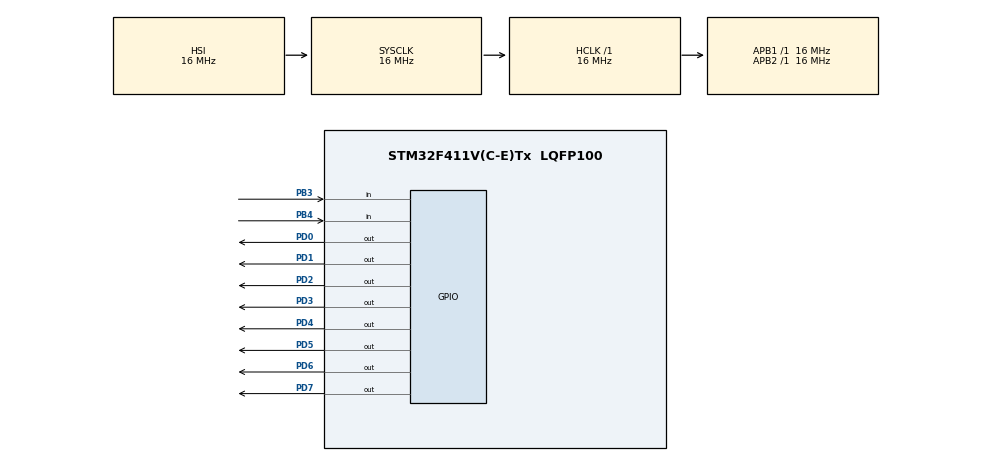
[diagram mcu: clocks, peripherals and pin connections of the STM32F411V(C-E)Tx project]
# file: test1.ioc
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Mcu.Family=STM32F4
Mcu.Name=STM32F411V(C-E)Tx
Mcu.Package=LQFP100
NVIC.PriorityGroup=NVIC_PRIORITYGROUP_4
PA13.Mode=Serial_Wire
PA13.Signal=SYS_JTMS-SWDIO
PA14.Mode=Serial_Wire
PA14.Signal=SYS_JTCK-SWCLK
PB3.GPIO_PuPd=GPIO_PULLUP
PB3.Signal=GPIO_Input
PB4.GPIO_PuPd=GPIO_PULLUP
PB4.Signal=GPIO_Input
PD0.Signal=GPIO_Output
PD1.Signal=GPIO_Output
PD2.Signal=GPIO_Output
PD3.Signal=GPIO_Output
PD4.Signal=GPIO_Output
PD5.Signal=GPIO_Output
PD6.Signal=GPIO_Output
PD7.Signal=GPIO_Output
ProjectManager.HeapSize=0x200
ProjectManager.StackSize=0x400
ProjectManager.TargetToolchain=STM32CubeIDE
RCC.AHBFreq_Value=16000000
RCC.APB1Freq_Value=16000000
RCC.APB2Freq_Value=16000000
RCC.CortexFreq_Value=16000000
RCC.HSE_VALUE=25000000
RCC.HSI_VALUE=16000000
RCC.LSE_VALUE=32768
RCC.SYSCLKFreq_VALUE=16000000
RCC.VCOOutputFreq_Value=192000000
board=custom

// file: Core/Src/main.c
/* USER CODE BEGIN Header */
/**
  ******************************************************************************
  * @file           : main.c
  * @brief          : Main program body
  ******************************************************************************
  * @attention
  *
  * Copyright (c) 2022 STMicroelectronics.
  * All rights reserved.
  *
  * This software is licensed under terms that can be found in the LICENSE file
  * in the root directory of this software component.
  * If no LICENSE file comes with this software, it is provided AS-IS.
  *
  ******************************************************************************
  */
/* USER CODE END Header */
#include "main.h"

void SystemClock_Config(void);
static void MX_GPIO_Init(void);

/* USER CODE BEGIN 0 */
uint8_t status = 0;
void delay_msX(uint16_t t);
void LED(unsigned char name, unsigned char x){
	switch(name){
		case 0:
		{
			HAL_GPIO_WritePin(GPIOD, GPIO_PIN_0, x);
			break;
		}
		case 1:
		{
			HAL_GPIO_WritePin(GPIOD, GPIO_PIN_1, x);
			break;
		}
		case 2:
		{
			HAL_GPIO_WritePin(GPIOD, GPIO_PIN_2, x);
			break;
		}
		case 3:
		{
			HAL_GPIO_WritePin(GPIOD, GPIO_PIN_3, x);
			break;
		}
		case 4:
		{
			HAL_GPIO_WritePin(GPIOD, GPIO_PIN_4, x);
			break;
		}
		case 5:
		{
			HAL_GPIO_WritePin(GPIOD, GPIO_PIN_5, x);
			break;
		}
		case 6:
		{
			HAL_GPIO_WritePin(GPIOD, GPIO_PIN_6, x);
			break;
		}
		case 7:
		{
			HAL_GPIO_WritePin(GPIOD, GPIO_PIN_7, x);
			break;
		}
	}
}

void sang_het(){
	for(unsigned char i = 0; i <= 7; i++){
		LED(i,1);
	}
}

void tat_het(){
	for(unsigned char i = 0; i <= 7; i++){
		LED(i,0);
	}
}

void chop_tat(uint8_t n){
	for(uint8_t i = 0; i < n; i++){
		for(unsigned char j = 0; j <= 7; j++){
			LED(j,1);
		}
		delay_msX(200);
		for(unsigned char j = 0; j <= 7; j++){
			LED(j,0);
		}
		delay_msX(200);
	}
	status = 2;
}

void sang_duoi(){
	unsigned char sangduoi;
	tat_het();
	delay_msX(1000);
	for(sangduoi = 0; sangduoi <= 7; sangduoi++){
		LED(sangduoi,1);
		delay_msX(1000);
		LED(sangduoi,0);
	}
}

void sang_don(uint8_t n){
	unsigned char sangduoi, sangdon;
	for(uint8_t i = 0; i < n; i++){
		tat_het();
		delay_msX(100);
		for(sangdon = 7; sangdon > 0; sangdon--){
			for(sangduoi = 0; sangduoi <= sangdon; sangduoi++){
				LED(sangduoi,1);
				delay_msX(100);
				LED(sangduoi,0);
			}
			LED(sangdon,1);
		}
		LED(0,1);
		delay_msX(100);
	}
	status = 2;
}

void delay_msX(uint16_t t){
	uint16_t i;
	for(i = 0; i < t; i++){
		HAL_Delay(1);
		if(HAL_GPIO_ReadPin(GPIOB, GPIO_PIN_3) == 0){
			status = 1;
			break;
		}
		if(HAL_GPIO_ReadPin(GPIOB, GPIO_PIN_4) == 0){
			status = 0;
			break;
		}
	}
}

void btn_sangdon(){
	if(HAL_GPIO_ReadPin(GPIOB, GPIO_PIN_3) == 0){
		HAL_Delay(20);
		if(HAL_GPIO_ReadPin(GPIOB, GPIO_PIN_3) == 0){
			status = 1;
			while(HAL_GPIO_ReadPin(GPIOB, GPIO_PIN_3) == 0);
		}
	}
}

void btn_choptat(){
	if(HAL_GPIO_ReadPin(GPIOB, GPIO_PIN_4) == 0){
		HAL_Delay(20);
		if(HAL_GPIO_ReadPin(GPIOB, GPIO_PIN_4) == 0){
			status = 0;
			while(HAL_GPIO_ReadPin(GPIOB, GPIO_PIN_4) == 0);
		}
	}
}
/* USER CODE END 0 */

int main(void)
{
  /* USER CODE BEGIN 1 */
	status = 2;
  /* USER CODE END 1 */

  /* MCU Configuration--------------------------------------------------------*/

  /* Reset of all peripherals, Initializes the Flash interface and the Systick. */
  HAL_Init();

  /* Configure the system clock */
  SystemClock_Config();

  /* Initialize all configured peripherals */
  MX_GPIO_Init();

  /* Infinite loop */
  while (1)
  {

    /* USER CODE BEGIN 3 */

	btn_choptat();
	btn_sangdon();
	if(status == 0){
		chop_tat(5);
	}else if ((status == 1)){
		sang_don(3);
	}else{
		tat_het();
	}
  }
  /* USER CODE END 3 */
}

void SystemClock_Config(void)
{
  RCC_OscInitTypeDef RCC_OscInitStruct = {0};
  RCC_ClkInitTypeDef RCC_ClkInitStruct = {0};

  /** Configure the main internal regulator output voltage
  */
  __HAL_RCC_PWR_CLK_ENABLE();
  __HAL_PWR_VOLTAGESCALING_CONFIG(PWR_REGULATOR_VOLTAGE_SCALE1);

  /** Initializes the RCC Oscillators according to the specified parameters
  * in the RCC_OscInitTypeDef structure.
  */
  RCC_OscInitStruct.OscillatorType = RCC_OSCILLATORTYPE_HSI;
  RCC_OscInitStruct.HSIState = RCC_HSI_ON;
  RCC_OscInitStruct.HSICalibrationValue = RCC_HSICALIBRATION_DEFAULT;
  RCC_OscInitStruct.PLL.PLLState = RCC_PLL_NONE;
  if (HAL_RCC_OscConfig(&RCC_OscInitStruct) != HAL_OK)
  {
    Error_Handler();
  }

  /** Initializes the CPU, AHB and APB buses clocks
  */
  RCC_ClkInitStruct.ClockType = RCC_CLOCKTYPE_HCLK|RCC_CLOCKTYPE_SYSCLK
                              |RCC_CLOCKTYPE_PCLK1|RCC_CLOCKTYPE_PCLK2;
  RCC_ClkInitStruct.SYSCLKSource = RCC_SYSCLKSOURCE_HSI;
  RCC_ClkInitStruct.AHBCLKDivider = RCC_SYSCLK_DIV1;
  RCC_ClkInitStruct.APB1CLKDivider = RCC_HCLK_DIV1;
  RCC_ClkInitStruct.APB2CLKDivider = RCC_HCLK_DIV1;

  if (HAL_RCC_ClockConfig(&RCC_ClkInitStruct, FLASH_LATENCY_0) != HAL_OK)
  {
    Error_Handler();
  }
}

static void MX_GPIO_Init(void)
{
  GPIO_InitTypeDef GPIO_InitStruct = {0};

  /* GPIO Ports Clock Enable */
  __HAL_RCC_GPIOA_CLK_ENABLE();
  __HAL_RCC_GPIOD_CLK_ENABLE();
  __HAL_RCC_GPIOB_CLK_ENABLE();

  /*Configure GPIO pin Output Level */
  HAL_GPIO_WritePin(GPIOD, GPIO_PIN_0|GPIO_PIN_1|GPIO_PIN_2|GPIO_PIN_3
                          |GPIO_PIN_4|GPIO_PIN_5|GPIO_PIN_6|GPIO_PIN_7, GPIO_PIN_RESET);

  /*Configure GPIO pins : PD0 PD1 PD2 PD3
                           PD4 PD5 PD6 PD7 */
  GPIO_InitStruct.Pin = GPIO_PIN_0|GPIO_PIN_1|GPIO_PIN_2|GPIO_PIN_3
                          |GPIO_PIN_4|GPIO_PIN_5|GPIO_PIN_6|GPIO_PIN_7;
  GPIO_InitStruct.Mode = GPIO_MODE_OUTPUT_PP;
  GPIO_InitStruct.Pull = GPIO_NOPULL;
  GPIO_InitStruct.Speed = GPIO_SPEED_FREQ_LOW;
  HAL_GPIO_Init(GPIOD, &GPIO_InitStruct);

  /*Configure GPIO pins : PB3 PB4 */
  GPIO_InitStruct.Pin = GPIO_PIN_3|GPIO_PIN_4;
  GPIO_InitStruct.Mode = GPIO_MODE_INPUT;
  GPIO_InitStruct.Pull = GPIO_PULLUP;
  HAL_GPIO_Init(GPIOB, &GPIO_InitStruct);

}

void Error_Handler(void)
{
  __disable_irq();
  while (1)
  {
  }
}
